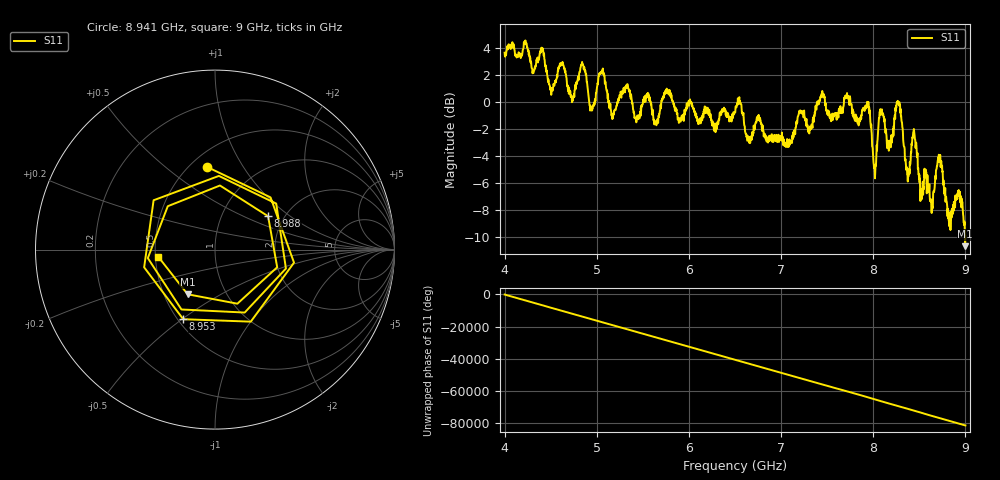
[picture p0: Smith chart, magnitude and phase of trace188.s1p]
! Created with skrf 1.8.0 (http://scikit-rf.org).
# Hz S RI R 50.0
!freq ReS11 ImS11
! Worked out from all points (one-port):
!   1601 points, 4 GHz to 9 GHz, reference 50 ohm
!   lowest |S11| = -10.7 dB at 8.997 GHz (marker M1), VSWR 1.82, Z = 32.9 - j17.9 ohm
!   |S11| at or under -10 dB: 8.994834 GHz to 8.999787 GHz (4.953 MHz wide, 0.0551 % of centre)
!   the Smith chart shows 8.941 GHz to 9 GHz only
!   S11 on the Smith chart (normalised r, x): 8.941 GHz: 0.60, +0.71; 8.953 GHz: 0.53, -0.51; 8.988 GHz: 1.66, +0.70; 9 GHz: 0.52, -0.05
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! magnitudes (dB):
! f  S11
! 4 GHz  3.7
! 4.625 GHz  2.9
! 4.731 GHz  0.0
! 4.844 GHz  2.8
! 4.944 GHz  -0.6
! 5.05 GHz  2.2
! 5.162 GHz  -0.9
! 5.25 GHz  0.5
! 5.875 GHz  -0.8
! 6.5 GHz  -0.8
! 7.125 GHz  -2.5
! 7.75 GHz  0.3
! 7.941 GHz  -0.1
! 8.016 GHz  -5.0
! 8.084 GHz  -0.7
! 8.175 GHz  -2.9
! 8.272 GHz  0.0
! 8.375 GHz  -5.9
! 8.441 GHz  -2.0
! 8.522 GHz  -6.6
! 8.641 GHz  -7.9
! 8.722 GHz  -3.9
! 8.825 GHz  -9.2
! 8.941 GHz  -6.7
! 8.953 GHz  -7.4
! 8.988 GHz  -9.1
! 8.997 GHz  -10.7
! 9 GHz  -9.9
